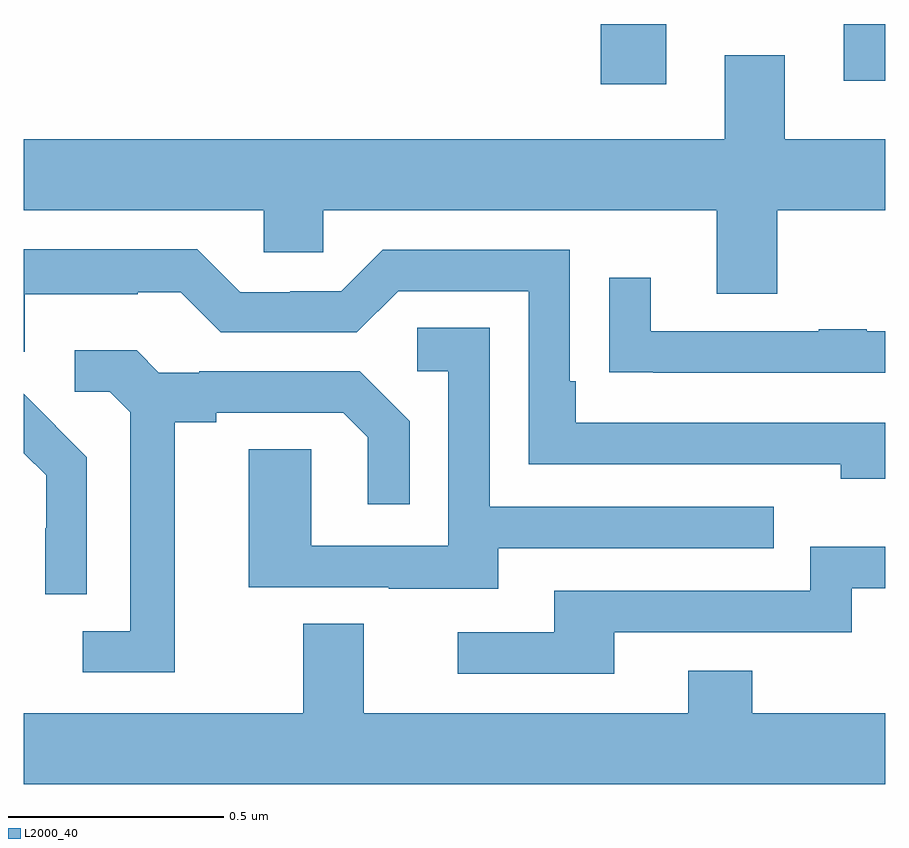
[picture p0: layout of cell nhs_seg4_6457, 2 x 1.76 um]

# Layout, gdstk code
import gdstk
lib = gdstk.Library(unit=1e-6, precision=1e-09)
def R(c, l, rs):  # rectangles x0, y0, x1, y1
    for r in rs: c.add(gdstk.rectangle(r[:2], r[2:], *l))
def P(c, l, *ps):  # polygons
    for p in ps: c.add(gdstk.Polygon(p, *l))
L2000_40 = (2000, 40)

nhs_seg4_6457 = lib.new_cell('nhs_seg4_6457')
R(nhs_seg4_6457, L2000_40, [(191.339,815.76,191.491,815.9), (191.903,815.768,192,815.9)])
P(nhs_seg4_6457, L2000_40, [(191.749,815.468),(192,815.468),(192,815.632),(191.767,815.632),(191.767,815.827),(191.627,815.827),(191.627,815.632),(190,815.632),(190,815.468),(190.557,815.468),(190.557,815.37),(190.695,815.37),(190.695,815.468),(191.609,815.468),(191.609,815.274),(191.749,815.274)],
  [(192,814.974),(191.281,814.974),(191.281,815.071),(191.268,815.071),(191.268,815.376),(190.833,815.376),(190.737,815.28),(190.619,815.28),(190.619,815.277),(190.503,815.277),(190.403,815.377),(190,815.377),(190,815.139),(190.002,815.139),(190.002,815.273),(190.265,815.273),(190.265,815.277),(190.365,815.277),(190.458,815.184),(190.773,815.184),(190.869,815.28),(191.172,815.28),(191.172,814.878),(191.897,814.878),(191.897,814.844),(192,814.844)],
  [(192,815.187),(191.957,815.187),(191.957,815.192),(191.845,815.192),(191.845,815.187),(191.455,815.187),(191.455,815.311),(191.359,815.311),(191.359,815.092),(191.461,815.092),(191.461,815.091),(192,815.091)],
  [(191.101,814.683),(191.741,814.683),(191.741,814.779),(191.082,814.779),(191.082,815.195),(190.914,815.195),(190.914,815.094),(190.986,815.094),(190.986,814.689),(190.668,814.689),(190.668,814.913),(190.523,814.913),(190.523,814.593),(190.847,814.593),(190.847,814.589),(191.101,814.589)],
  [(190.351,814.976),(190.447,814.976),(190.447,814.998),(190.742,814.998),(190.799,814.941),(190.799,814.785),(190.896,814.785),(190.896,814.978),(190.78,815.094),(190.408,815.094),(190.408,815.091),(190.314,815.091),(190.262,815.143),(190.119,815.143),(190.119,815.046),(190.2,815.046),(190.247,814.999),(190.247,814.491),(190.137,814.491),(190.137,814.395),(190.351,814.395)],
  [(190.146,814.894),(190.073,814.967),(190.074,814.968),(190,815.042),(190,814.904),(190.052,814.853),(190.052,814.73),(190.05,814.73),(190.05,814.576),(190.146,814.576)],
  [(191.371,814.488),(191.922,814.488),(191.922,814.59),(192,814.59),(192,814.687),(191.826,814.687),(191.826,814.584),(191.231,814.584),(191.231,814.488),(191.007,814.488),(191.007,814.392),(191.371,814.392)],
  [(191.543,814.399),(191.543,814.3),(190.789,814.3),(190.789,814.508),(190.649,814.508),(190.649,814.3),(190,814.3),(190,814.136),(192,814.136),(192,814.3),(191.691,814.3),(191.691,814.399)])

lib.write_gds('nhs_seg4_6457.gds')
